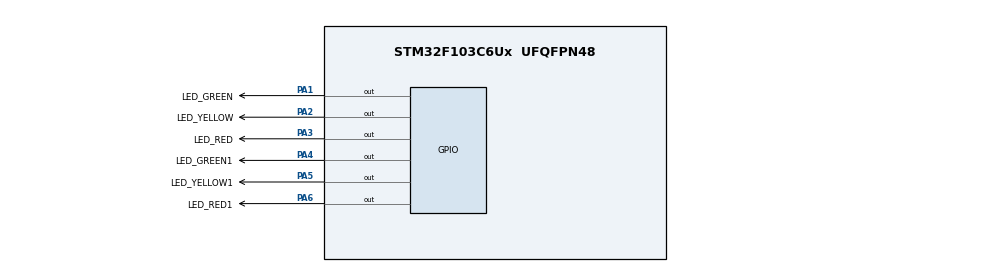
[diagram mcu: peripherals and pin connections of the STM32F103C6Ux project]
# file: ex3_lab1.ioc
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Mcu.Family=STM32F1
Mcu.Name=STM32F103C6Ux
Mcu.Package=UFQFPN48
NVIC.PriorityGroup=NVIC_PRIORITYGROUP_4
PA1.GPIO_Label=LED_GREEN
PA1.Signal=GPIO_Output
PA2.GPIO_Label=LED_YELLOW
PA2.Signal=GPIO_Output
PA3.GPIO_Label=LED_RED
PA3.Signal=GPIO_Output
PA4.GPIO_Label=LED_GREEN1
PA4.Signal=GPIO_Output
PA5.GPIO_Label=LED_YELLOW1
PA5.Signal=GPIO_Output
PA6.GPIO_Label=LED_RED1
PA6.Signal=GPIO_Output
ProjectManager.HeapSize=0x200
ProjectManager.StackSize=0x400
ProjectManager.TargetToolchain=STM32CubeIDE
RCC.APB1Freq_Value=8000000
RCC.APB2Freq_Value=8000000
VP_SYS_VS_ND.Mode=No_Debug
board=custom

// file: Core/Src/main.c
/* USER CODE BEGIN Header */
/**
  ******************************************************************************
  * @file           : main.c
  * @brief          : Main program body
  ******************************************************************************
  * @attention
  *
  * <h2><center>&copy; Copyright (c) 2022 STMicroelectronics.
  * All rights reserved.</center></h2>
  *
  * This software component is licensed by ST under BSD 3-Clause license,
  * the "License"; You may not use this file except in compliance with the
  * License. You may obtain a copy of the License at:
  *                        opensource.org/licenses/BSD-3-Clause
  *
  ******************************************************************************
  */
/* USER CODE END Header */
#include "main.h"

void SystemClock_Config(void);
static void MX_GPIO_Init(void);

int main(void)
{

  /* MCU Configuration--------------------------------------------------------*/

  /* Reset of all peripherals, Initializes the Flash interface and the Systick. */
  HAL_Init();

  /* Configure the system clock */
  SystemClock_Config();

  /* Initialize all configured peripherals */
  MX_GPIO_Init();

  /* Infinite loop */
  /* USER CODE BEGIN WHILE */
    int8_t status = 2;
    int8_t count_green = 3;
    int8_t count_yellow = 2;
    int8_t count_red = 5;
    int8_t status1 = 0;
    int8_t count_green1 = 3;
    int8_t count_yellow1 = 2;
    int8_t count_red1 = 5;
    HAL_GPIO_WritePin(LED_RED_GPIO_Port, LED_RED_Pin, SET);
    HAL_GPIO_WritePin(LED_YELLOW_GPIO_Port, LED_YELLOW_Pin, SET);
    HAL_GPIO_WritePin(LED_GREEN_GPIO_Port, LED_GREEN_Pin, SET);
    HAL_GPIO_WritePin(LED_RED1_GPIO_Port, LED_RED1_Pin, SET);
    HAL_GPIO_WritePin(LED_YELLOW1_GPIO_Port, LED_YELLOW1_Pin, SET);
    HAL_GPIO_WritePin(LED_GREEN1_GPIO_Port, LED_GREEN1_Pin, SET);
  while (1)
  {
    /* USER CODE END WHILE */
	  if(status == 2){
	 		  HAL_GPIO_WritePin(LED_GREEN_GPIO_Port, LED_GREEN_Pin, RESET);
	 		  count_green--;
	 		  if(count_green == 0){
	 			  status = 1;
	 			  count_green = 3;
	 			  HAL_GPIO_WritePin(LED_GREEN_GPIO_Port, LED_GREEN_Pin, SET);
	 		  }
	 	  }
	 	  if(status == 1){
	 		  HAL_GPIO_WritePin(LED_YELLOW_GPIO_Port, LED_YELLOW_Pin, RESET);
	 		  count_yellow--;
	 		  if(count_yellow == 0){
	 			  HAL_GPIO_WritePin(LED_YELLOW_GPIO_Port, LED_YELLOW_Pin, SET);
	 			  count_yellow = 2;
	 			  status = 0;
	 		  }
	 	  }
	 	  if(status == 0){
	 		  HAL_GPIO_WritePin(LED_RED_GPIO_Port, LED_RED_Pin, RESET);
	 		  count_red--;
	 		  if(count_red == 0){
	 			  HAL_GPIO_WritePin(LED_RED_GPIO_Port, LED_RED_Pin, SET);
	 			  status = 2;
	 			  count_red = 5;
	 		  }
	 	  }
	 	  /*led 2*/
	 	  	  	 if(status1 == 2){
	 	 	 		  HAL_GPIO_WritePin(LED_GREEN1_GPIO_Port, LED_GREEN1_Pin, RESET);
	 	 	 		  count_green1--;
	 	 	 		  if(count_green1 == 0){
	 	 	 			  status1 = 1;
	 	 	 			  count_green1 = 3;
	 	 	 			  HAL_GPIO_WritePin(LED_GREEN1_GPIO_Port, LED_GREEN1_Pin, SET);
	 	 	 		  }
	 	 	 	  }
	 	 	 	 if(status1 == 1){
	 	 	 		  HAL_GPIO_WritePin(LED_YELLOW1_GPIO_Port, LED_YELLOW1_Pin, RESET);
	 	 	 		  count_yellow1--;
	 	 	 		  if(count_yellow1 == 0){
	 	 	 			  HAL_GPIO_WritePin(LED_YELLOW1_GPIO_Port, LED_YELLOW1_Pin, SET);
	 	 	 			  count_yellow1 = 2;
	 	 	 			  status1 = 0;
	 	 	 		  }
	 	 	 	  }
	 	 	 	  if(status1 == 0){
	 	 	 		  HAL_GPIO_WritePin(LED_RED1_GPIO_Port, LED_RED1_Pin, RESET);
	 	 	 		  count_red1--;
	 	 	 		  if(count_red1 == 0){
	 	 	 			  HAL_GPIO_WritePin(LED_RED1_GPIO_Port, LED_RED1_Pin, SET);
	 	 	 			  status1 = 2;
	 	 	 			  count_red1 = 5;
	 	 	 		  }
	 	 	 	  }
    /* USER CODE BEGIN 3 */
	 	  HAL_Delay(1000);
 }
  /* USER CODE END 3 */
}

void SystemClock_Config(void)
{
  RCC_OscInitTypeDef RCC_OscInitStruct = {0};
  RCC_ClkInitTypeDef RCC_ClkInitStruct = {0};

  /** Initializes the RCC Oscillators according to the specified parameters
  * in the RCC_OscInitTypeDef structure.
  */
  RCC_OscInitStruct.OscillatorType = RCC_OSCILLATORTYPE_HSI;
  RCC_OscInitStruct.HSIState = RCC_HSI_ON;
  RCC_OscInitStruct.HSICalibrationValue = RCC_HSICALIBRATION_DEFAULT;
  RCC_OscInitStruct.PLL.PLLState = RCC_PLL_NONE;
  if (HAL_RCC_OscConfig(&RCC_OscInitStruct) != HAL_OK)
  {
    Error_Handler();
  }
  /** Initializes the CPU, AHB and APB buses clocks
  */
  RCC_ClkInitStruct.ClockType = RCC_CLOCKTYPE_HCLK|RCC_CLOCKTYPE_SYSCLK
                              |RCC_CLOCKTYPE_PCLK1|RCC_CLOCKTYPE_PCLK2;
  RCC_ClkInitStruct.SYSCLKSource = RCC_SYSCLKSOURCE_HSI;
  RCC_ClkInitStruct.AHBCLKDivider = RCC_SYSCLK_DIV1;
  RCC_ClkInitStruct.APB1CLKDivider = RCC_HCLK_DIV1;
  RCC_ClkInitStruct.APB2CLKDivider = RCC_HCLK_DIV1;

  if (HAL_RCC_ClockConfig(&RCC_ClkInitStruct, FLASH_LATENCY_0) != HAL_OK)
  {
    Error_Handler();
  }
}

static void MX_GPIO_Init(void)
{
  GPIO_InitTypeDef GPIO_InitStruct = {0};

  /* GPIO Ports Clock Enable */
  __HAL_RCC_GPIOA_CLK_ENABLE();

  /*Configure GPIO pin Output Level */
  HAL_GPIO_WritePin(GPIOA, LED_GREEN_Pin|LED_YELLOW_Pin|LED_RED_Pin|LED_GREEN1_Pin
                          |LED_YELLOW1_Pin|LED_RED1_Pin, GPIO_PIN_RESET);

  /*Configure GPIO pins : LED_GREEN_Pin LED_YELLOW_Pin LED_RED_Pin LED_GREEN1_Pin
                           LED_YELLOW1_Pin LED_RED1_Pin */
  GPIO_InitStruct.Pin = LED_GREEN_Pin|LED_YELLOW_Pin|LED_RED_Pin|LED_GREEN1_Pin
                          |LED_YELLOW1_Pin|LED_RED1_Pin;
  GPIO_InitStruct.Mode = GPIO_MODE_OUTPUT_PP;
  GPIO_InitStruct.Pull = GPIO_NOPULL;
  GPIO_InitStruct.Speed = GPIO_SPEED_FREQ_LOW;
  HAL_GPIO_Init(GPIOA, &GPIO_InitStruct);

}

void Error_Handler(void)
{
  __disable_irq();
  while (1)
  {
  }
}

/************************ (C) COPYRIGHT STMicroelectronics *****END OF FILE****/
